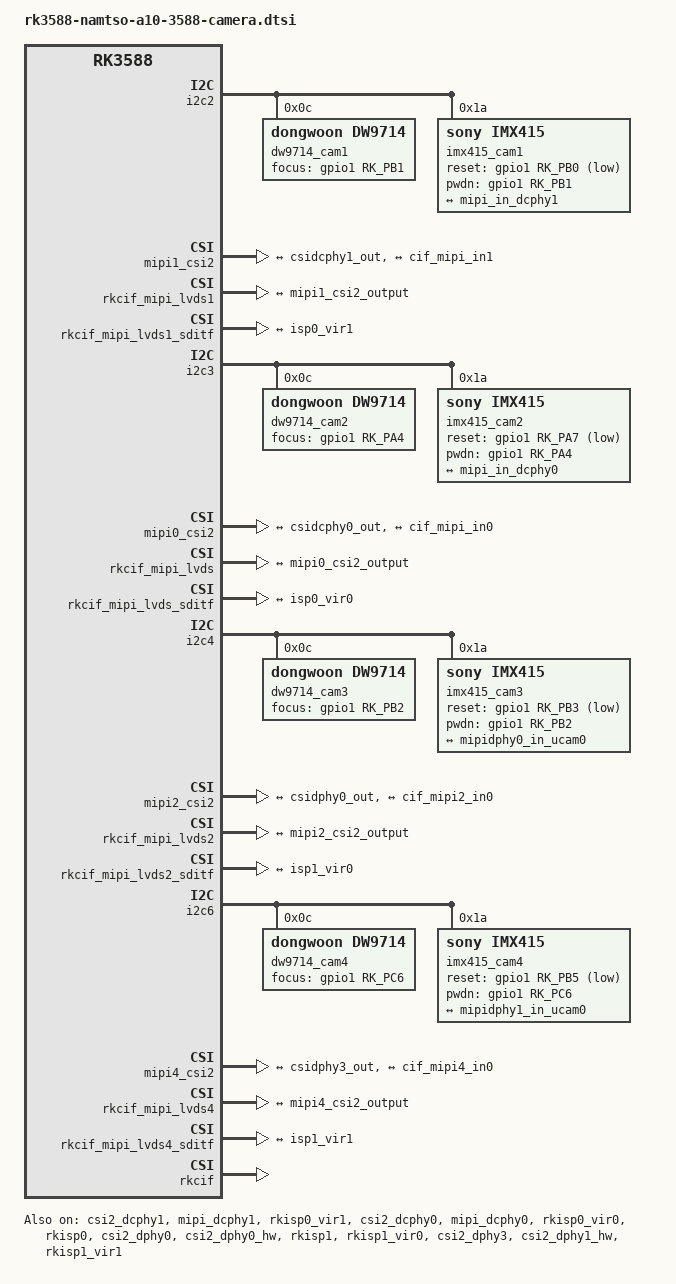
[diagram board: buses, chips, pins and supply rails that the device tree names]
// SPDX-License-Identifier: (GPL-2.0+ OR MIT)
/*
 * Copyright (c) 2023 Namtso Technology Co., Ltd.
 *
 */

&i2c2 {
	status = "okay";
	pinctrl-names = "default";
	pinctrl-0 = <&i2c2m4_xfer>;

	dw9714_cam1: dw9714_cam1@c {
		compatible = "dongwoon,dw9714";
		status = "okay";
		reg = <0x0c>;
		pinctrl-names = "default";
		pinctrl-0 = <&focus_cam1_gpio>;
		focus-gpios = <&gpio1 RK_PB1 GPIO_ACTIVE_HIGH>;
		rockchip,vcm-start-current = <20>;
		rockchip,vcm-rated-current = <76>;
		rockchip,vcm-step-mode = <0>;
		rockchip,camera-module-index = <0>;
		rockchip,camera-module-facing = "back";
	};

	imx415_cam1: imx415f@1a {
		compatible = "sony,imx415";
		status = "okay";
		reg = <0x1a>;
		clocks = <&cru CLK_MIPI_CAMARAOUT_M1>;
		clock-names = "xvclk";
		power-domains = <&power RK3588_PD_VI>;
		pinctrl-names = "default";
		pinctrl-0 = <&mipim0_camera1_clk>, <&cam1_reset_gpio>;
		rockchip,grf = <&sys_grf>;
		reset-gpios = <&gpio1 RK_PB0 GPIO_ACTIVE_LOW>;
		pwdn-gpios = <&gpio1 RK_PB1 GPIO_ACTIVE_HIGH>;
		rockchip,camera-module-index = <0>;
		rockchip,camera-module-facing = "back";
		rockchip,camera-module-name = "CMK-OT2022-PX1";
		rockchip,camera-module-lens-name = "IR0147-50IRC-8M-F20";
		lens-focus = <&dw9714_cam1>;
		port {
			imx415_cam1_out: endpoint {
				remote-endpoint = <&mipi_in_dcphy1>;
				data-lanes = <1 2 3 4>;
			};
		};
	};
};

&csi2_dcphy1 {
	status = "okay";

	ports {
		#address-cells = <1>;
		#size-cells = <0>;
		port@0 {
			reg = <0>;
			#address-cells = <1>;
			#size-cells = <0>;

			mipi_in_dcphy1: endpoint@1 {
				reg = <1>;
				remote-endpoint = <&imx415_cam1_out>;
				data-lanes = <1 2 3 4>;
			};
		};
		port@1 {
			reg = <1>;
			#address-cells = <1>;
			#size-cells = <0>;

			csidcphy1_out: endpoint@0 {
				reg = <0>;
				remote-endpoint = <&mipi1_csi2_input>;
			};
		};
	};
};

&mipi_dcphy1 {
	status = "okay";
};

&mipi1_csi2 {
	status = "okay";

	ports {
		#address-cells = <1>;
		#size-cells = <0>;

		port@0 {
			reg = <0>;
			#address-cells = <1>;
			#size-cells = <0>;

			mipi1_csi2_input: endpoint@1 {
				reg = <1>;
				remote-endpoint = <&csidcphy1_out>;
			};
		};

		port@1 {
			reg = <1>;
			#address-cells = <1>;
			#size-cells = <0>;

			mipi1_csi2_output: endpoint@0 {
				reg = <0>;
				remote-endpoint = <&cif_mipi_in1>;
			};
		};
	};
};

&rkcif_mipi_lvds1 {
	status = "okay";

	port {
		cif_mipi_in1: endpoint {
			remote-endpoint = <&mipi1_csi2_output>;
		};
	};
};

&rkcif_mipi_lvds1_sditf {
	status = "okay";

	port {
		mipi1_lvds_sditf: endpoint {
			remote-endpoint = <&isp0_vir1>;
		};
	};
};

&rkisp0_vir1 {
	status = "okay";

	port {
		#address-cells = <1>;
		#size-cells = <0>;

		isp0_vir1: endpoint@0 {
			reg = <0>;
			remote-endpoint = <&mipi1_lvds_sditf>;
		};
	};
};

/*******************************************************************************************************/

&i2c3 {
	status = "okay";

	dw9714_cam2: dw9714_cam2@c {
		compatible = "dongwoon,dw9714";
		status = "okay";
		reg = <0x0c>;
		pinctrl-names = "default";
		pinctrl-0 = <&focus_cam2_gpio>;
		focus-gpios = <&gpio1 RK_PA4 GPIO_ACTIVE_HIGH>;
		rockchip,vcm-start-current = <20>;
		rockchip,vcm-rated-current = <76>;
		rockchip,vcm-step-mode = <0>;
		rockchip,camera-module-index = <1>;
		rockchip,camera-module-facing = "back";
	};

	imx415_cam2: imx415_cam2@1a {
		compatible = "sony,imx415";
		status = "okay";
		reg = <0x1a>;
		clocks = <&cru CLK_MIPI_CAMARAOUT_M2>;
		clock-names = "xvclk";
		power-domains = <&power RK3588_PD_VI>;
		pinctrl-names = "default";
		pinctrl-0 = <&mipim0_camera2_clk>, <&cam2_reset_gpio>;
		rockchip,grf = <&sys_grf>;
		reset-gpios = <&gpio1 RK_PA7 GPIO_ACTIVE_LOW>;
		pwdn-gpios = <&gpio1 RK_PA4 GPIO_ACTIVE_HIGH>;
		rockchip,camera-module-index = <1>;
		rockchip,camera-module-facing = "back";
		rockchip,camera-module-name = "CMK-OT2022-PX1";
		rockchip,camera-module-lens-name = "IR0147-50IRC-8M-F20";
		lens-focus = <&dw9714_cam2>;
		port {
			imx415_cam2_out: endpoint {
				remote-endpoint = <&mipi_in_dcphy0>;
				data-lanes = <1 2 3 4>;
			};
		};
	};
};

&csi2_dcphy0 {
	status = "okay";

	ports {
		#address-cells = <1>;
		#size-cells = <0>;
		port@0 {
			reg = <0>;
			#address-cells = <1>;
			#size-cells = <0>;

			mipi_in_dcphy0: endpoint@1 {
				reg = <1>;
				remote-endpoint = <&imx415_cam2_out>;
				data-lanes = <1 2 3 4>;
			};
		};
		port@1 {
			reg = <1>;
			#address-cells = <1>;
			#size-cells = <0>;

			csidcphy0_out: endpoint@0 {
				reg = <0>;
				remote-endpoint = <&mipi0_csi2_input>;
			};
		};
	};
};

&mipi_dcphy0 {
	status = "okay";
};

&mipi0_csi2 {
	status = "okay";

	ports {
		#address-cells = <1>;
		#size-cells = <0>;

		port@0 {
			reg = <0>;
			#address-cells = <1>;
			#size-cells = <0>;

			mipi0_csi2_input: endpoint@1 {
				reg = <1>;
				remote-endpoint = <&csidcphy0_out>;
			};
		};

		port@1 {
			reg = <1>;
			#address-cells = <1>;
			#size-cells = <0>;

			mipi0_csi2_output: endpoint@0 {
				reg = <0>;
				remote-endpoint = <&cif_mipi_in0>;
			};
		};
	};
};

&rkcif_mipi_lvds {
	status = "okay";

	port {
		cif_mipi_in0: endpoint {
			remote-endpoint = <&mipi0_csi2_output>;
		};
	};
};

&rkcif_mipi_lvds_sditf {
	status = "okay";

	port {
		mipi_lvds_sditf: endpoint {
			remote-endpoint = <&isp0_vir0>;
		};
	};
};

&rkisp0_vir0 {
	status = "okay";

	port {
		#address-cells = <1>;
		#size-cells = <0>;

		isp0_vir0: endpoint@0 {
			reg = <0>;
			remote-endpoint = <&mipi_lvds_sditf>;
		};
	};
};

&rkisp0 {
	status = "okay";
};

&isp0_mmu {
	status = "okay";
};

/**********************************************************************************************************************/

&i2c4 {
	status = "okay";

	pinctrl-names = "default";
	pinctrl-0 = <&i2c4m3_xfer>;

	dw9714_cam3: dw9714_cam3@c {
		compatible = "dongwoon,dw9714";
		status = "okay";
		reg = <0x0c>;
		pinctrl-names = "default";
		pinctrl-0 = <&focus_cam3_gpio>;
		focus-gpios = <&gpio1 RK_PB2 GPIO_ACTIVE_HIGH>;
		rockchip,vcm-start-current = <20>;
		rockchip,vcm-rated-current = <76>;
		rockchip,vcm-step-mode = <0>;
		rockchip,camera-module-index = <2>;
		rockchip,camera-module-facing = "back";
	};

	imx415_cam3: imx415_cam3@1a {
		compatible = "sony,imx415";
		reg = <0x1a>;
		clocks = <&cru CLK_MIPI_CAMARAOUT_M3>;
		clock-names = "xvclk";
		pinctrl-names = "default";
		pinctrl-0 = <&mipim0_camera3_clk>, <&cam3_reset_gpio>;
		power-domains = <&power RK3588_PD_VI>;
		reset-gpios = <&gpio1 RK_PB3 GPIO_ACTIVE_LOW>;
		pwdn-gpios = <&gpio1 RK_PB2 GPIO_ACTIVE_HIGH>;
		rockchip,camera-module-index = <2>;
		rockchip,camera-module-facing = "back";
		rockchip,camera-module-name = "CMK-OT2022-PX1";
		rockchip,camera-module-lens-name = "IR0147-50IRC-8M-F20";
		lens-focus = <&dw9714_cam3>;
		port {
			imx415c_cam3_out: endpoint {
				remote-endpoint = <&mipidphy0_in_ucam0>;
				data-lanes = <1 2 3 4>;
			};
		};
	};
};

&csi2_dphy0 {
	status = "okay";

	ports {
		#address-cells = <1>;
		#size-cells = <0>;
		port@0 {
			reg = <0>;
			#address-cells = <1>;
			#size-cells = <0>;

			mipidphy0_in_ucam0: endpoint@1 {
				reg = <1>;
				remote-endpoint = <&imx415c_cam3_out>;
				data-lanes = <1 2 3 4>;
			};
		};
		port@1 {
			reg = <1>;
			#address-cells = <1>;
			#size-cells = <0>;

			csidphy0_out: endpoint@0 {
				reg = <0>;
				remote-endpoint = <&mipi2_csi2_input>;
			};
		};
	};
};

&csi2_dphy0_hw {
	status = "okay";
};

&mipi2_csi2 {
	status = "okay";

	ports {
		#address-cells = <1>;
		#size-cells = <0>;

		port@0 {
			reg = <0>;
			#address-cells = <1>;
			#size-cells = <0>;

			mipi2_csi2_input: endpoint@1 {
				reg = <1>;
				remote-endpoint = <&csidphy0_out>;
			};
		};

		port@1 {
			reg = <1>;
			#address-cells = <1>;
			#size-cells = <0>;

			mipi2_csi2_output: endpoint@0 {
				reg = <0>;
				remote-endpoint = <&cif_mipi2_in0>;
			};
		};
	};
};

&rkcif_mipi_lvds2 {
	status = "okay";

	port {
		cif_mipi2_in0: endpoint {
			remote-endpoint = <&mipi2_csi2_output>;
		};
	};
};

&rkcif_mipi_lvds2_sditf {
	status = "okay";

	port {
		mipi_lvds2_sditf: endpoint {
			remote-endpoint = <&isp1_vir0>;
		};
	};
};

&rkisp1 {
	status = "okay";
};

&isp1_mmu {
	status = "okay";
};

&rkisp1_vir0 {
	status = "okay";

	port {
		#address-cells = <1>;
		#size-cells = <0>;

		isp1_vir0: endpoint@0 {
			reg = <0>;
			remote-endpoint = <&mipi_lvds2_sditf>;
		};
	};
};

/**********************************************************************************************************************/

&i2c6 {
	status = "okay";

	dw9714_cam4: dw9714_cam4@c {
		compatible = "dongwoon,dw9714";
		status = "okay";
		reg = <0x0c>;
		pinctrl-names = "default";
		pinctrl-0 = <&focus_cam4_gpio>;
		focus-gpios = <&gpio1 RK_PC6 GPIO_ACTIVE_HIGH>;
		rockchip,vcm-start-current = <20>;
		rockchip,vcm-rated-current = <76>;
		rockchip,vcm-step-mode = <0>;
		rockchip,camera-module-index = <3>;
		rockchip,camera-module-facing = "back";
	};

	imx415_cam4: imx415_cam4@1a {
		compatible = "sony,imx415";
		reg = <0x1a>;
		clocks = <&cru CLK_MIPI_CAMARAOUT_M4>;
		clock-names = "xvclk";
		pinctrl-names = "default";
		pinctrl-0 = <&mipim0_camera4_clk>, <&cam4_reset_gpio>;
		power-domains = <&power RK3588_PD_VI>;
		reset-gpios = <&gpio1 RK_PB5 GPIO_ACTIVE_LOW>;
		pwdn-gpios = <&gpio1 RK_PC6 GPIO_ACTIVE_HIGH>;
		rockchip,camera-module-index = <3>;
		rockchip,camera-module-facing = "back";
		rockchip,camera-module-name = "CMK-OT2022-PX1";
		rockchip,camera-module-lens-name = "IR0147-50IRC-8M-F20";
		lens-focus = <&dw9714_cam4>;
		port {
			imx415_cam4_out0: endpoint {
				remote-endpoint = <&mipidphy1_in_ucam0>;
				data-lanes = <1 2 3 4>;
			};
		};
	};
};

&csi2_dphy3 {
	status = "okay";

	ports {
		#address-cells = <1>;
		#size-cells = <0>;
		port@0 {
			reg = <0>;
			#address-cells = <1>;
			#size-cells = <0>;

			mipidphy1_in_ucam0: endpoint@1 {
				reg = <1>;
				remote-endpoint = <&imx415_cam4_out0>;
				data-lanes = <1 2 3 4>;
			};
		};
		port@1 {
			reg = <1>;
			#address-cells = <1>;
			#size-cells = <0>;

			csidphy3_out: endpoint@0 {
				reg = <0>;
				remote-endpoint = <&mipi4_csi2_input>;
			};
		};
	};
};

&csi2_dphy1_hw {
	status = "okay";
};

&mipi4_csi2 {
	status = "okay";

	ports {
		#address-cells = <1>;
		#size-cells = <0>;

		port@0 {
			reg = <0>;
			#address-cells = <1>;
			#size-cells = <0>;

			mipi4_csi2_input: endpoint@1 {
				reg = <1>;
				remote-endpoint = <&csidphy3_out>;
			};
		};

		port@1 {
			reg = <1>;
			#address-cells = <1>;
			#size-cells = <0>;

			mipi4_csi2_output: endpoint@0 {
				reg = <0>;
				remote-endpoint = <&cif_mipi4_in0>;
			};
		};
	};
};

&rkcif_mipi_lvds4 {
	status = "okay";

	port {
		cif_mipi4_in0: endpoint {
			remote-endpoint = <&mipi4_csi2_output>;
		};
	};
};

&rkcif_mipi_lvds4_sditf {
	status = "okay";

	port {
		mipi_lvds4_sditf: endpoint {
			remote-endpoint = <&isp1_vir1>;
		};
	};
};

&rkisp1_vir1 {
	status = "okay";

	port {
		#address-cells = <1>;
		#size-cells = <0>;

		isp1_vir1: endpoint@0 {
			reg = <0>;
			remote-endpoint = <&mipi_lvds4_sditf>;
		};
	};
};

/*************************************************************************************/



&pinctrl {
	cam {

		cam1_reset_gpio: cam-reset-gpio {
			rockchip,pins =
				<1 RK_PB0 RK_FUNC_GPIO &pcfg_pull_none>;
		};

		cam2_reset_gpio: cam2-reset-gpio {
			rockchip,pins =
				<1 RK_PA7 RK_FUNC_GPIO &pcfg_pull_none>;
		};

		cam3_reset_gpio: cam3-reset-gpio {
			rockchip,pins =
				<1 RK_PB3 RK_FUNC_GPIO &pcfg_pull_none>;
		};

		cam4_reset_gpio: cam4-reset-gpio {
			rockchip,pins =
				<1 RK_PB5 RK_FUNC_GPIO &pcfg_pull_none>;
		};

		focus_cam1_gpio: focus-cam1-gpio {
			rockchip,pins =
				<1 RK_PB1 RK_FUNC_GPIO &pcfg_pull_none>;
		};

		focus_cam2_gpio: focus-cam2-gpio {
			rockchip,pins =
				<1 RK_PA4 RK_FUNC_GPIO &pcfg_pull_none>;
		};

		focus_cam3_gpio: focus-cam3-gpio {
			rockchip,pins =
				<1 RK_PB2 RK_FUNC_GPIO &pcfg_pull_none>;
		};

		focus_cam4_gpio: focus-cam4-gpio {
			rockchip,pins =
				<1 RK_PC6 RK_FUNC_GPIO &pcfg_pull_none>;
		};

	};
};


&rkcif {
	status = "okay";
};

&rkcif_mmu {
	status = "okay";
};

